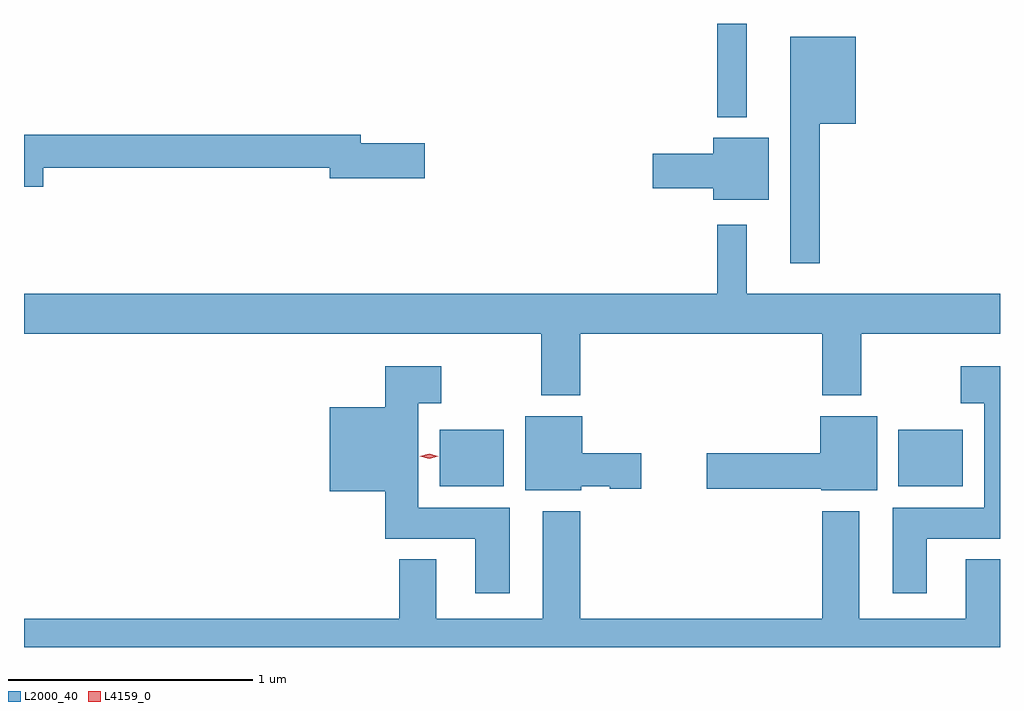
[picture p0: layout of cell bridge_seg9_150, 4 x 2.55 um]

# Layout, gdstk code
import gdstk
lib = gdstk.Library(unit=1e-6, precision=1e-09)
def R(c, l, rs):  # rectangles x0, y0, x1, y1
    for r in rs: c.add(gdstk.rectangle(r[:2], r[2:], *l))
def P(c, l, *ps):  # polygons
    for p in ps: c.add(gdstk.Polygon(p, *l))
L2000_40 = (2000, 40)
L4159_0 = (4159, 0)

bridge_seg9_150 = lib.new_cell('bridge_seg9_150')
R(bridge_seg9_150, L2000_40, [(557.402,1165.16,557.665,1165.39), (559.283,1165.16,559.546,1165.39), (558.54,1166.672,558.661,1167.054)])
P(bridge_seg9_150, L2000_40, [(558.961,1166.645),(559.108,1166.645),(559.108,1167.001),(558.839,1167.001),(558.839,1166.073),(558.961,1166.073)],
  [(555.778,1166.464),(556.952,1166.464),(556.952,1166.422),(557.341,1166.422),(557.341,1166.564),(557.08,1166.564),(557.08,1166.6),(555.699,1166.6),(555.699,1166.387),(555.778,1166.387)],
  [(558.751,1166.587),(558.524,1166.587),(558.524,1166.522),(558.276,1166.522),(558.276,1166.38),(558.524,1166.38),(558.524,1166.333),(558.751,1166.333)],
  [(557.978,1165.784),(558.971,1165.784),(558.971,1165.532),(559.131,1165.532),(559.131,1165.784),(559.699,1165.784),(559.699,1165.948),(558.661,1165.948),(558.661,1166.23),(558.54,1166.23),(558.54,1165.948),(555.699,1165.948),(555.699,1165.784),(557.818,1165.784),(557.818,1165.532),(557.978,1165.532)],
  [(557.689,1165.072),(557.314,1165.072),(557.314,1165.499),(557.41,1165.499),(557.41,1165.651),(557.18,1165.651),(557.18,1165.483),(556.952,1165.483),(556.952,1165.139),(557.18,1165.139),(557.18,1164.944),(557.549,1164.944),(557.549,1164.72),(557.689,1164.72)],
  [(559.399,1164.944),(559.699,1164.944),(559.699,1165.651),(559.539,1165.651),(559.539,1165.499),(559.634,1165.499),(559.634,1165.072),(559.259,1165.072),(559.259,1164.72),(559.399,1164.72)],
  [(557.982,1165.16),(558.099,1165.16),(558.099,1165.148),(558.229,1165.148),(558.229,1165.295),(557.986,1165.295),(557.986,1165.447),(557.753,1165.447),(557.753,1165.142),(557.982,1165.142)],
  [(559.195,1165.447),(558.962,1165.447),(558.962,1165.295),(558.498,1165.295),(558.498,1165.148),(558.966,1165.148),(558.966,1165.142),(559.195,1165.142)],
  [(559.699,1164.859),(559.559,1164.859),(559.559,1164.616),(559.123,1164.616),(559.123,1165.057),(558.971,1165.057),(558.971,1164.616),(557.978,1164.616),(557.978,1165.057),(557.825,1165.057),(557.825,1164.616),(557.389,1164.616),(557.389,1164.859),(557.237,1164.859),(557.237,1164.616),(555.699,1164.616),(555.699,1164.5),(559.699,1164.5)])
P(bridge_seg9_150, L4159_0, [(557.359,1165.272),(557.321,1165.282),(557.321,1165.282),(557.321,1165.282),(557.359,1165.292),(557.396,1165.282),(557.397,1165.282),(557.396,1165.282)])

lib.write_gds('bridge_seg9_150.gds')
